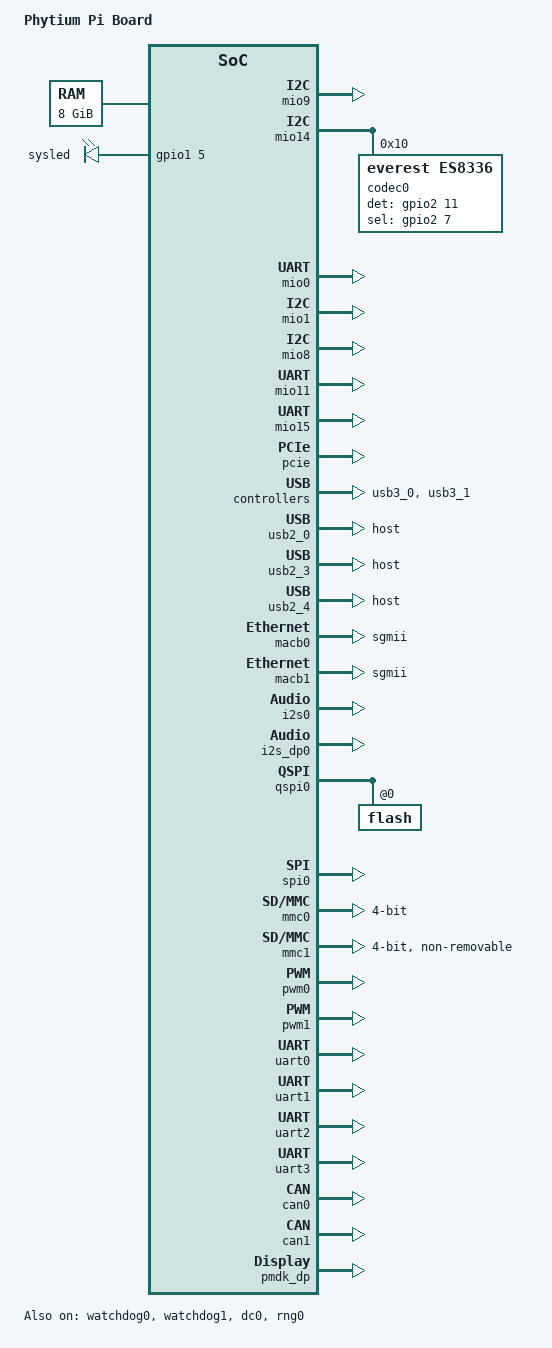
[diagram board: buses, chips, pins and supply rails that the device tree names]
// SPDX-License-Identifier: GPL-2.0
/*
 * DTS file for Phytium Pi development board.
 *
 * Copyright (C) 2023, Phytium Technology Co., Ltd.
 *
 * Shaojun Yang <yangshaojun@phytium.com.cn>
 */

/dts-v1/;
/memreserve/ 0x80000000 0x10000;

#include "pe2204.dtsi"

/{
	model = "Phytium Pi Board";
	compatible = "phytium,pe2204";

	chosen {
		stdout-path = "serial1:115200n8";
	};
	aliases {
		serial4 = &mio0;
		serial5 = &mio11;
		serial6 = &mio15;
	};

	memory@00{
		device_type = "memory";
		reg = <0x0 0x80000000 0x2 0x00000000>;
	};

	leds {
		compatible = "gpio-leds";
		sysled {
			label = "sysled";
			gpios = <&gpio1 5 0>;
			linux,default-trigger = "none";
		};
	};

	sound_card: sound {
		compatible = "simple-audio-card";
		simple-audio-card,format = "i2s";
		simple-audio-card,name = "phytium,pe220x-i2s-audio";
		simple-audio-card,pin-switches = "mic-in";
		simple-audio-card,widgets = "Microphone","mic-in";
		simple-audio-card,routing = "MIC2","mic-in";
		simple-audio-card,cpu {
			sound-dai = <&i2s0>;
		};
		simple-audio-card,codec{
			sound-dai = <&codec0>;
		};
	};
};

&soc {
	mio9: i2c@28026000 {
		compatible = "phytium,i2c";
		reg = <0x0 0x28026000 0x0 0x1000>;
		interrupts = <GIC_SPI 101 IRQ_TYPE_LEVEL_HIGH>;
		clocks = <&sysclk_50mhz>;
		#address-cells = <1>;
		#size-cells = <0>;
		status = "okay";
	};

	mio14: i2c@28030000 {
		compatible = "phytium,i2c";
		reg = <0x0 0x28030000 0x0 0x1000>;
		interrupts = <GIC_SPI 106 IRQ_TYPE_LEVEL_HIGH>;
		clocks = <&sysclk_50mhz>;
		#address-cells = <1>;
		#size-cells = <0>;
		status = "okay";

		codec0: es8336@10 {
			det-gpios = <&gpio2 11 0>;
			sel-gpios = <&gpio2 7 0>;
			#sound-dai-cells = <0>;
			compatible = "everest,es8336";
			reg = <0x10>;
		};
	};


	mio0: uart@28014000 {
		compatible = "arm,pl011","arm,primecell";
		reg = <0x0 0x28014000 0x0 0x1000>;
		interrupts = <GIC_SPI 92 IRQ_TYPE_LEVEL_HIGH>;
		clocks = <&sysclk_50mhz &sysclk_50mhz>;
		clock-names = "uartclk", "apb_pclk";
		status = "okay";
	};

	mio1: i2c@28016000 {
		compatible = "phytium,i2c";
		reg = <0x0 0x28016000 0x0 0x1000>;
		interrupts = <GIC_SPI 93 IRQ_TYPE_LEVEL_HIGH>;
		clocks = <&sysclk_50mhz>;
		#address-cells = <1>;
		#size-cells = <0>;
		status = "okay";
	};

	mio8: i2c@28024000 {
		compatible = "phytium,i2c";
		reg = <0x0 0x28024000 0x0 0x1000>;
		interrupts = <GIC_SPI 100 IRQ_TYPE_LEVEL_HIGH>;
		clocks = <&sysclk_50mhz>;
		#address-cells = <1>;
		#size-cells = <0>;
		status = "okay";
	};

	mio11: uart@2802A000 {
		compatible = "arm,pl011","arm,primecell";
		reg = <0x0 0x2802A000 0x0 0x1000>;
		interrupts = <GIC_SPI 103 IRQ_TYPE_LEVEL_HIGH>;
		clocks = <&sysclk_50mhz &sysclk_50mhz>;
		clock-names = "uartclk", "apb_pclk";
		status = "okay";
	};

	mio15: uart@28032000 {
		compatible = "arm,pl011","arm,primecell";
		reg = <0x0 0x28032000 0x0 0x1000>;
		interrupts = <GIC_SPI 107 IRQ_TYPE_LEVEL_HIGH>;
		clocks = <&sysclk_50mhz &sysclk_50mhz>;
		clock-names = "uartclk", "apb_pclk";
		status = "okay";
	};
};

&gpio0 {
	status = "okay";
};

&gpio1 {
	status = "okay";
};

&gpio2 {
	status = "okay";
};

&gpio3 {
	status = "okay";
};

&gpio4 {
	status = "okay";
};

&gpio5 {
	status = "okay";
};

&watchdog0 {
	status = "okay";
};

&watchdog1 {
	status = "okay";
};

&pcie {
	status = "okay";
};

&usb3_0 {
	status = "okay";
};

&usb3_1 {
	status = "okay";
};

&usb2_0 {
	dr_mode = "host";
	status = "okay";
};

&usb2_1 {
	dr_mode = "peripheral";
	status = "disabled";
};

&usb2_2 {
	dr_mode = "peripheral";
	status = "disabled";
};

&usb2_3 {
	dr_mode = "host";
	status = "okay";
};

&usb2_4 {
	dr_mode = "host";
	status = "okay";
};

&macb0 {
	phy-mode = "sgmii";
	use-mii;
	status = "okay";
};

&macb1 {
	phy-mode = "sgmii";
	use-mii;
	status = "okay";
};

&dc0 {
	pipe_mask = /bits/ 8 <0x1>;
	edp_mask = /bits/ 8 <0x0>;
	status = "okay";
};

&i2s0 {
	#sound-dai-cells = <0>;
	dai-name = "phytium-i2s-lsd";
	status = "okay";
};

&i2s_dp0 {
	dai-name = "phytium-i2s-dp0";
	status = "okay";
};

&qspi0 {
	status = "okay";

	flash@0 {
		status = "okay";
	};
};

&spi0 {
	global-cs = <1>;
	status = "okay";

	spidev0: spidev@0 {
		compatible = "spidev";
		reg = <0>;
		spi-max-frequency = <50000000>;
		status = "disabled";
	};
};

&mmc0 {
	bus-width = <0x00000004>;
	max-frequency = <50000000>;
	cap-sdio-irq;
	cap-sd-highspeed;
	no-mmc;
	status = "okay";
};

&mmc1 {
	bus-width = <0x00000004>;
	max-frequency = <25000000>;
	cap-sdio-irq;
	cap-sd-highspeed;
	no-mmc;
	no-sd;
	non-removable;
	status = "okay";
};

&pwm0 {
	phytium,db = <0 0 100 1000 1000 0>;
	status = "okay";
};

&pwm1 {
	phytium,db = <0 0 100 1000 1000 0>;
	status = "okay";
};

&uart0 {
	status = "okay";
};

&uart1 {
	status = "okay";
};

&uart2 {
	status = "okay";
};

&uart3 {
	status = "okay";
};

&can0 {
	status = "okay";
};

&can1 {
	status = "okay";
};

&pmdk_dp {
	num-dp = <1>;
	dp-mask = /bits/ 8 <0x1>;
	status = "okay";
};

&rng0 {
	status = "okay";
};
